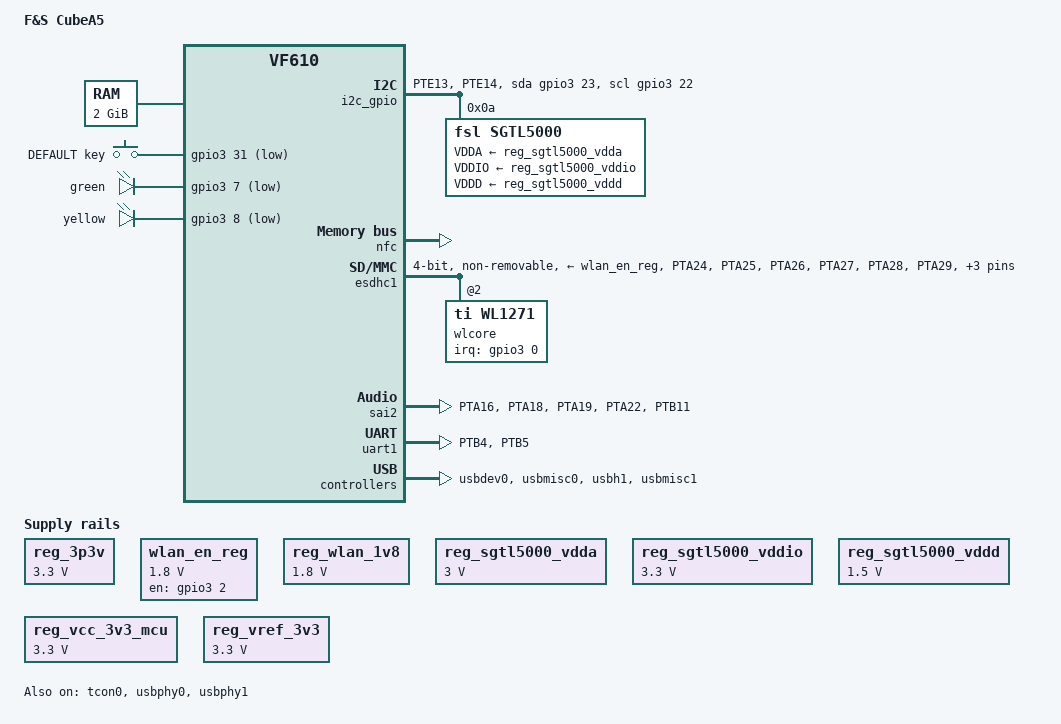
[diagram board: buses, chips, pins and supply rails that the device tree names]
/*
 * Copyright (C) 2020 F&S Elektronik Systeme GmbH
 *
 * This program is free software; you can redistribute it and/or modify
 * it under the terms of the GNU General Public License version 2 as
 * published by the Free Software Foundation.
 */

/dts-v1/;

/* Set board revision as 3-digit number, e.g. 110 for board rev. 1.10 */
#define CONFIG_CUBEA5_BOARD_REVISION	110

/* AUDIO */
#define CONFIG_CUBEA5_SGTL5000_AUDIO

#include "vf610.dtsi"
#include <dt-bindings/pwm/pwm.h>
#include <dt-bindings/input/input.h>

/ {
	model = "F&S CubeA5";
	compatible = "fus,cubea5", "fsl,vf610";

	aliases {
#ifdef CONFIG_CUBEA5_SGTL5000_AUDIO
		i2c4 = &i2c_gpio;
#endif
	};

	memory {
		reg = <0x80000000 0x80000000>;
	};

	regulators {
		compatible = "simple-bus";
		#address-cells = <1>;
		#size-cells = <0>;

		reg_3p3v: regulator@0 {
			compatible = "regulator-fixed";
			reg = <0>;
			regulator-name = "3P3V";
			regulator-min-microvolt = <3300000>;
			regulator-max-microvolt = <3300000>;
			regulator-always-on;
		};

		wlan_en_reg: regulator_wl_en {
			compatible = "regulator-fixed";
			regulator-name = "WLAN";
			regulator-min-microvolt = <1800000>;
			regulator-max-microvolt = <1800000>;
			gpio = <&gpio3 2 0>;
			enable-active-high;
			startup-delay-us = <70000>;
		};

		reg_wlan_1v8: reg_wlan_1v8 {
			compatible = "regulator-fixed";
			regulator-name = "VQMMC WLAN_1V8";
			regulator-min-microvolt = <1800000>;
			regulator-max-microvolt = <1800000>;
			regulator-always-on;
		};

#ifdef CONFIG_CUBEA5_SGTL5000_AUDIO
		/* SGTL5000 analog voltage */
		reg_sgtl5000_vdda: sgtl5000_vdda {
			compatible = "regulator-fixed";
			regulator-name = "VDDA-supply";
			regulator-min-microvolt = <3000000>;
			regulator-max-microvolt = <3000000>;
			regulator-always-on;
		};

		/* SGTL5000 I/O voltage */
		reg_sgtl5000_vddio: sgtl5000_vddio {
			compatible = "regulator-fixed";
			regulator-name = "VDDIO-supply";
			regulator-min-microvolt = <3300000>;
			regulator-max-microvolt = <3300000>;
			regulator-always-on;
		};

		/* SGTL5000 internal digital voltage */
		reg_sgtl5000_vddd: sgtl5000_vddd {
			compatible = "regulator-fixed";
			regulator-name = "VDDD-supply";
			regulator-min-microvolt = <1500000>;
			regulator-max-microvolt = <1500000>;
			regulator-always-on;
		};
#endif /* CONFIG_CUBEA5_SGTL5000_AUDIO */

/* USB1_VBUS not connected */
#if 0
		reg_usb_h1_vbus: usb_h1_vbus {
			compatible = "regulator-fixed";
			regulator-name = "usb_h1_vbus";
			regulator-min-microvolt = <5000000>;
			regulator-max-microvolt = <5000000>;
			gpio = <&gpio3 15 0>;
			enable-active-high;
		};
#endif
		reg_vcc_3v3_mcu: regulator@1 {
			compatible = "regulator-fixed";
			reg = <1>;
			regulator-name = "vcc_3v3_mcu";
			regulator-min-microvolt = <3300000>;
			regulator-max-microvolt = <3300000>;
		};

		reg_vref_3v3: regulator_3v3 {
			compatible = "regulator-fixed";
			regulator-name = "vref-3V3";
			regulator-min-microvolt = <3300000>;
			regulator-max-microvolt = <3300000>;
			regulator-always-on;
		};
	};

	/* DEFAULT key */
	gpio_keys {
		compatible = "gpio-keys";
		#address-cells = <1>;
		#size-cells = <0>;

		defaultkey {
			label = "DEFAULT key";
			linux,code = <KEY_SETUP>;
			gpios = <&gpio3 31 GPIO_ACTIVE_LOW>;
		};
	};

	/* F&S board information */
	bdinfo: bdinfo {
		compatible = "bdinfo";
	};

#ifdef CONFIG_CUBEA5_SGTL5000_AUDIO
	i2c_gpio: i2c-gpio {
		compatible = "i2c-gpio";
		gpios = <&gpio3 23 GPIO_ACTIVE_HIGH /* sda */
			 &gpio3 22 GPIO_ACTIVE_HIGH /* scl */
			>;
		pinctrl-names = "default";
		pinctrl-0 = <&pinctrl_i2c5_gpio>;
//		i2c-gpio,sda-open-drain;
//		i2c-gpio,scl-open-drain;
		i2c-gpio,delay-us = <2>;        /* ~100 kHz */
		#address-cells = <1>;
		#size-cells = <0>;
	};

	sound-sgtl5000 {
		compatible = "fsl,imx-audio-sgtl5000";
		cpu-dai = <&sai2>;
		audio-codec = <&sgtl5000>;
		model = "imx-sgtl5000";

		audio-routing =
//			"MIC_IN", "Mic Jack",
			"Mic Jack", "Mic Bias",
			"LINE_IN", "Line In Jack";
//			"Line Out Jack", "LINE_OUT";
	};
#endif

	leds {
		compatible = "gpio-leds";
		pinctrl-names = "default";
		pinctrl-0 = <&pinctrl_status_leds>;

		status_1 {
			label = "green";
			gpios = <&gpio3 7 GPIO_ACTIVE_LOW>;
			default-state = "keep";
		};

		status_2 {
			label = "yellow";
			gpios = <&gpio3 8 GPIO_ACTIVE_LOW>;
			default-state = "keep";
		};
	};
};

/*
 * The Audio-PLL (PLL4) is set to 1179.648 MHz by default. This can be divided
 * by 16 with the PLL4_CLK_DIV to get 73.728 MHz and further by 3 or 6 with
 * SAI2_DIV or CKO2_DIV to get 24.576 MHz or 12.288 Mhz, which are multiples of
 * the most commonly used bit rates. Use CKO2 by default.
 */
&clks {
	assigned-clocks =
			<&clks VF610_CLK_PLL4_MAIN_DIV>,
			<&clks VF610_CLK_CKO2_SEL>,
			<&clks VF610_CLK_CKO2_PODF>;

	assigned-clock-parents =
			<0>,
			<&clks VF610_CLK_PLL4_MAIN_DIV>;

	assigned-clock-rates =
			<73728000>,
			<0>,
			<12288000>;			/* or <24576000> */
};

&nfc {
	compatible = "fus,vf610-nfc";
	fus,ecc-mode = <5>;
	status = "okay";
};

&edma0 {
	status = "okay";
};

/* The WLAN chip needs a 32768 Hz clock on CKO1. */
&esdhc1 {
	pinctrl-names = "default";
	pinctrl-0 = <&pinctrl_esdhc1>;
	bus-width = <4>;
	non-removable;
	cap-power-off-card;
	vmmc-supply = <&wlan_en_reg>;	/* VDD, misused for WLAN_EN */
	vqmmc-supply = <&reg_wlan_1v8>;	/* VDD_IO */
	voltage-ranges = <1800 1800>;
	keep-power-in-suspend;
	enable-sdio-wakeup;
#if 1
	clocks = <&clks VF610_CLK_IPG_BUS>,
		<&clks VF610_CLK_PLATFORM_BUS>,
		<&clks VF610_CLK_ESDHC1>,
		<&clks VF610_CLK_CKO1>;
	clock-names = "ipg", "ahb", "per", "extra";
#endif
	assigned-clocks =
			<&clks VF610_CLK_CKO1_SEL>,
			<&clks VF610_CLK_CKO1_PODF>,
			<&clks VF610_CLK_CKO1>;
	assigned-clock-parents =
			<&clks VF610_CLK_SXOSC>,
			<0>,
			<0>;
	assigned-clock-rates =
			<0>,
			<0>,
			<32768>;
	status = "okay";

	#address-cells = <1>;
	#size-cells = <0>;

	wlcore: wlcore@2 {
		compatible = "ti,wl1271";
		reg = <2>;
		interrupt-parent = <&gpio3>;
		interrupts = <0 IRQ_TYPE_LEVEL_HIGH>;
		ref-clock-frequency = <38400000>;
		clocks = <&clks VF610_CLK_CKO1>;
		clock-names = "slowclk";
	};
};

#ifdef CONFIG_CUBEA5_SGTL5000_AUDIO
/* I2C_C (Bitbanging): RTC (PCA8565), SGTL5000 (SKIT) */
&i2c_gpio {
	sgtl5000: sgtl5000@0a {
		compatible = "fsl,sgtl5000";
		reg = <0x0a>;
		mono2both;
		clocks = <&clks VF610_CLK_CKO2>;
		VDDA-supply = <&reg_sgtl5000_vdda>;
		VDDIO-supply = <&reg_sgtl5000_vddio>;
		VDDD-supply = <&reg_sgtl5000_vddd>;
	};
};
#endif /* CONFIG_CUBEA5_SGTL5000_AUDIO */

&L2 {
	arm,data-latency = <2 1 2>;
	arm,tag-latency = <3 2 3>;
};

#ifdef CONFIG_CUBEA5_SGTL5000_AUDIO
&sai2 {
	pinctrl-names = "default";
	pinctrl-0 = <&pinctrl_sai2>;
	fsl,mclk-out;
	status = "okay";
};
#endif

&tcon0 {
	status = "okay";
};

&uart1 {
	pinctrl-names = "default";
	pinctrl-0 = <&pinctrl_uart1>;
	status = "okay";
};

&usbdev0 {
	disable-over-current;
	status = "okay";
};

&usbmisc0 {
	status = "okay";
};

&usbphy0 {
	status = "okay";
};

&usbh1 {
	status = "okay";
};

&usbmisc1 {
	status = "okay";
};

&usbphy1 {
	status = "okay";
};

&iomuxc {
	pinctrl-names = "default";
	pinctrl-0 = <&pinctrl_hog>;

	cubea5 {
		/* Pin configs that don't belong anywhere else */
		pinctrl_hog: hoggrp {
			fsl,pins = <
				/* USB1_VBUS */
				//VF610_PAD_PTE6__GPIO_111		0x214c
				/* DEFAULT button */
				VF610_PAD_PTE22__GPIO_127		0x219d
			>;
		};

		pinctrl_status_leds: ledgrp {
			fsl,pins = <
				/* Status LEDs */
				VF610_PAD_PTC30__GPIO_103		0x01cf
				VF610_PAD_PTC31__GPIO_104		0x01cf
			>;
		};

		pinctrl_esdhc1: esdhc1grp {
			fsl,pins = <
				VF610_PAD_PTA24__ESDHC1_CLK		0x31ef
				VF610_PAD_PTA25__ESDHC1_CMD		0x31ef
				VF610_PAD_PTA26__ESDHC1_DAT0		0x31ef
				VF610_PAD_PTA27__ESDHC1_DAT1		0x31ef
				VF610_PAD_PTA28__ESDHC1_DAT2		0x31ef
				VF610_PAD_PTA29__ESDHC1_DAT3		0x31ef
				/* WLAN 32kHz clock */
				VF610_PAD_PTB10__CKO1			0x01c2
				/* WLAN_IRQ */
				VF610_PAD_PTB26__GPIO_96		0x01dd
				/* WLAN_EN */
				VF610_PAD_PTB28__GPIO_98		0x01ce
			>;
		};

#ifdef CONFIG_CUBEA5_SGTL5000_AUDIO
		pinctrl_i2c5_gpio: i2c5_gpio_grp {
			fsl,pins = <
				VF610_PAD_PTE13__GPIO_118		0x219c
				VF610_PAD_PTE14__GPIO_119		0x219c
			>;
		};

		pinctrl_sai2: sai2grp {
			fsl,pins = <
				VF610_PAD_PTA16__SAI2_TX_BCLK		0x02ed
				VF610_PAD_PTA18__SAI2_TX_DATA		0x02ee
				VF610_PAD_PTA19__SAI2_TX_SYNC		0x02ed
				VF610_PAD_PTA22__SAI2_RX_DATA		0x02ed
				VF610_PAD_PTB11__CKO2			0x1c1
			>;
		};
#endif /* CONFIG_CUBEA5_SGTL5000_AUDIO */

		pinctrl_uart1: uart1grp {
			fsl,pins = <
				VF610_PAD_PTB4__UART1_TX		0x11a2
				VF610_PAD_PTB5__UART1_RX		0x118d
			>;
		};
	};
};
